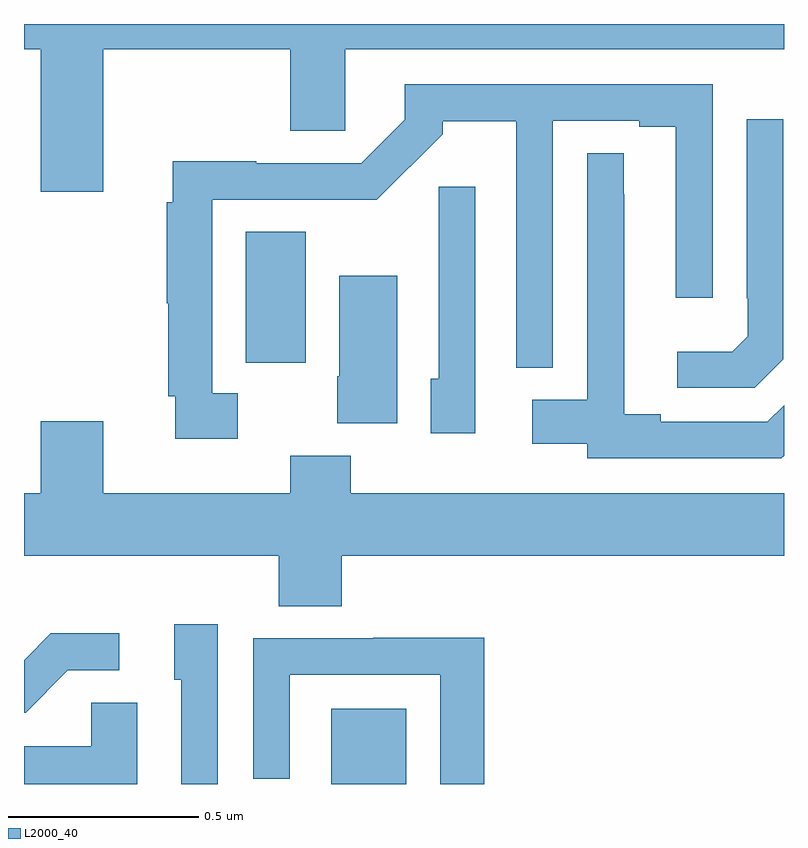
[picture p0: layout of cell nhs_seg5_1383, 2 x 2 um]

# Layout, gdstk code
import gdstk
lib = gdstk.Library(unit=1e-6, precision=1e-09)
def R(c, l, rs):  # rectangles x0, y0, x1, y1
    for r in rs: c.add(gdstk.rectangle(r[:2], r[2:], *l))
def P(c, l, *ps):  # polygons
    for p in ps: c.add(gdstk.Polygon(p, *l))
L2000_40 = (2000, 40)

nhs_seg5_1383 = lib.new_cell('nhs_seg5_1383')
R(nhs_seg5_1383, L2000_40, [(129.809,882.799,130.006,882.997), (129.584,883.908,129.742,884.252)])
P(nhs_seg5_1383, L2000_40, [(129.208,884.732),(129.7,884.732),(129.7,884.518),(129.846,884.518),(129.846,884.732),(131,884.732),(131,884.799),(129,884.799),(129,884.732),(129.044,884.732),(129.044,884.358),(129.208,884.358)],
  [(129.562,883.827),(129.495,883.827),(129.495,884.337),(129.827,884.337),(129.827,884.336),(129.928,884.336),(130.102,884.509),(130.102,884.543),(130.296,884.543),(130.296,883.895),(130.392,883.895),(130.392,884.544),(130.619,884.544),(130.619,884.529),(130.715,884.529),(130.715,884.079),(130.812,884.079),(130.812,884.64),(130.002,884.64),(130.002,884.547),(129.888,884.433),(129.611,884.433),(129.611,884.438),(129.392,884.438),(129.392,884.33),(129.375,884.33),(129.375,884.064),(129.379,884.064),(129.379,883.819),(129.398,883.819),(129.398,883.707),(129.562,883.707)],
  [(130.998,883.917),(130.998,884.548),(130.902,884.548),(130.902,884.077),(130.905,884.077),(130.905,883.977),(130.864,883.937),(130.719,883.937),(130.719,883.842),(130.923,883.842)],
  [(131,883.663),(131,883.796),(130.956,883.752),(130.675,883.752),(130.675,883.772),(130.579,883.772),(130.579,884.351),(130.578,884.351),(130.578,884.459),(130.482,884.459),(130.482,883.81),(130.338,883.81),(130.338,883.694),(130.482,883.694),(130.482,883.656),(130.993,883.656)],
  [(130.188,884.371),(130.092,884.371),(130.092,883.866),(130.07,883.866),(130.07,883.722),(130.188,883.722)],
  [(129.982,884.137),(129.83,884.137),(129.83,883.872),(129.824,883.872),(129.824,883.748),(129.982,883.748)],
  [(129.836,883.4),(131,883.4),(131,883.564),(129.86,883.564),(129.86,883.663),(129.7,883.663),(129.7,883.564),(129.208,883.564),(129.208,883.753),(129.044,883.753),(129.044,883.564),(129,883.564),(129,883.4),(129.671,883.4),(129.671,883.267),(129.836,883.267)],
  [(129.51,883.219),(129.395,883.219),(129.395,883.074),(129.414,883.074),(129.414,882.799),(129.51,882.799)],
  [(129.115,883.098),(129.25,883.098),(129.25,883.196),(129.071,883.196),(129,883.125),(129,882.987),(129.004,882.987)],
  [(130.211,883.184),(129.919,883.184),(129.919,883.182),(129.603,883.182),(129.603,882.813),(129.699,882.813),(129.699,883.086),(130.095,883.086),(130.095,882.799),(130.211,882.799)],
  [(129.298,883.013),(129.177,883.013),(129.177,882.898),(129,882.898),(129,882.799),(129.298,882.799)])

lib.write_gds('nhs_seg5_1383.gds')
